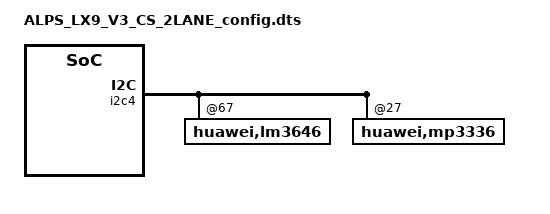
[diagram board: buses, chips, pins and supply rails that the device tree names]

/**
 * Copyright (C) 2014 Hisilicon Ltd.
 *
 *  This program is free software; you can redistribute it and/or modify
 *  it under the terms of the GNU General Public License version 2 as
 *  publishhed by the Free Software Foundation.
 */

/dts-v1/;
/include/ "fastboot.dtsi"
/include/ "ALPS_LX9_V1_CS_config.dtsi"
/include/ "ALPS_LX9_V3_CS_2LANE_pin.dtsi"
/include/ "ALPS_LX9_V3_CS_2LANE_sec_pin.dtsi"
/include/ "ALPS_LX9_V3_CS_2LANE_modem_pin.dtsi"

/ {
	hisi,boardid = <6 4 0 6>;
	hisi,boardname = "ALPS_LX9_V3_CS_2LANE";
	hisi,product_id = <0x39002400>;
	hisi,modem_id = <0x39002400>;
	huawei,lcd_panel {
		product_id = <1001>;
	};
	sensorhub{
		als_sensor:light{
			als1{
				als_phone_version = <102>;
			};
			als2{
				als_phone_version = <102>;
			};
		};
		acc_sensor:gsensor{
			acc1{
				negate_x =<0>;
				negate_y =<1>;
				negate_z =<1>;
			};
			acc2{
				negate_x =<0>;
				negate_y =<1>;
				negate_z =<1>;
			};
		};
		gyro_sensor:gyroscope{
			gyro1{
				position = <5>;
				axis_map_x =<0>;
				axis_map_y =<1>;
				axis_map_z =<2>;
				negate_x =<0>;
				negate_y =<1>;
				negate_z =<1>;
			};
			gyro2{
				position = <5>;
				axis_map_x =<0>;
				axis_map_y =<1>;
				axis_map_z =<2>;
				negate_x =<0>;
				negate_y =<1>;
				negate_z =<1>;
			};
		};
	};

	amba {
		i2c4: i2c@FDF0D000 {

			huawei,lm3646@67{
				huawei,led-type = <0>; /* 1, dual tempature; 0, dual white */
				huawei,flash-current = <0 15 0>; /* */
				status = "ok";
			};

			huawei,mp3336@27{
				huawei,led-type = <0>; /* 1, dual tempature; 0, dual white */
				huawei,flash-current = <0 18 0>;
				status = "ok";
			};
        };
    };

};
